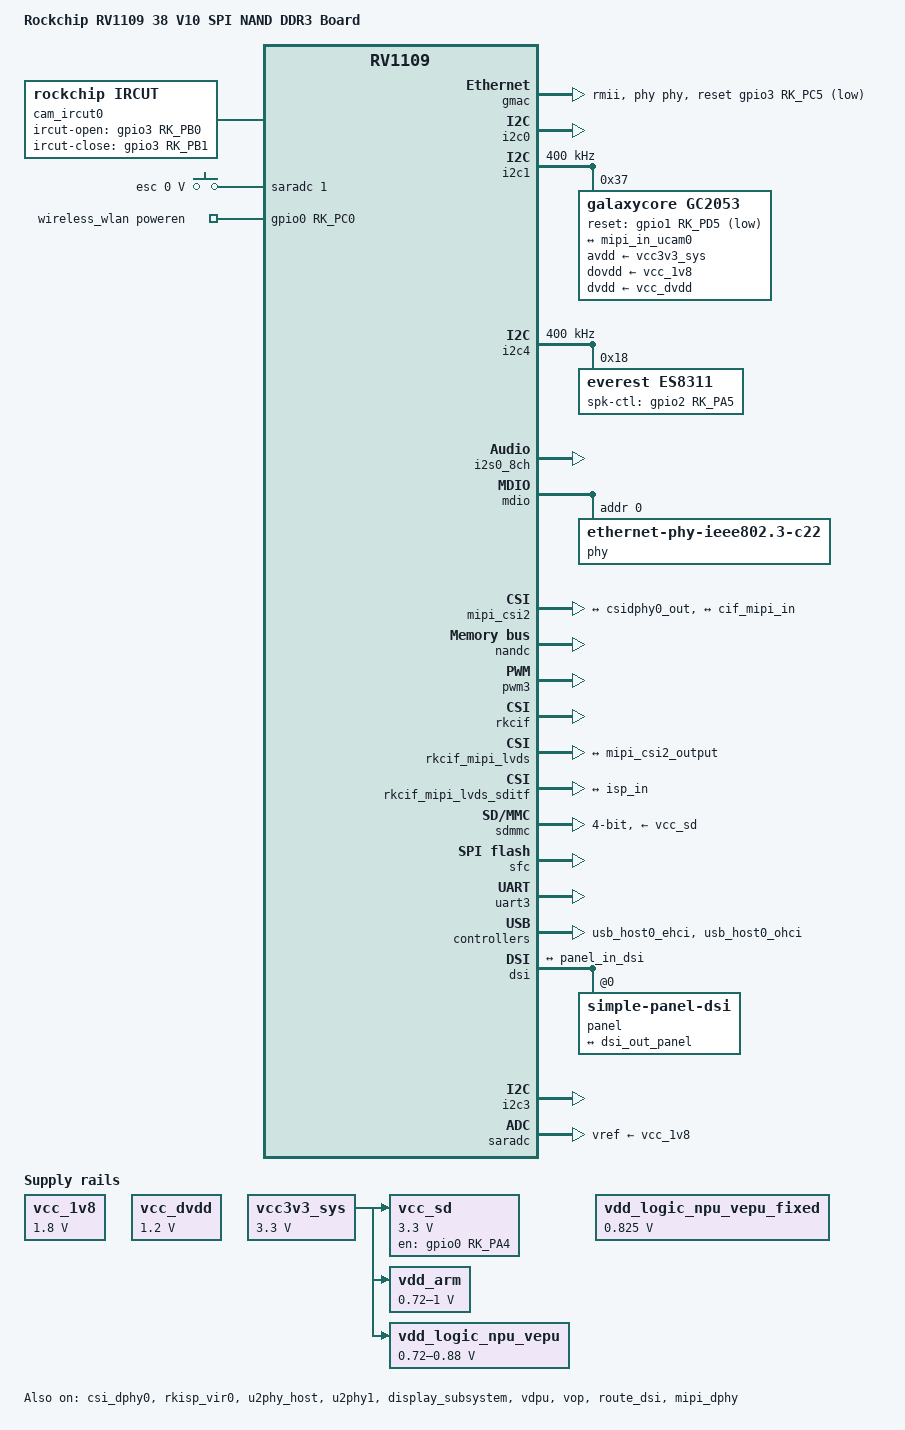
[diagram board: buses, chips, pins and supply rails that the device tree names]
// SPDX-License-Identifier: (GPL-2.0+ OR MIT)
/*
 * Copyright (c) 2020 Rockchip Electronics Co., Ltd.
 */

/dts-v1/;
#include "rv1126.dtsi"
//#include "rv1109.dtsi"
#include "rv1126-ipc.dtsi"
#include <dt-bindings/display/drm_mipi_dsi.h>
#include <dt-bindings/input/input.h>
/ {

	model = "Rockchip RV1109 38 V10 SPI NAND DDR3 Board";
	compatible = "rockchip,rv1109-38-v10-spi-nand", "rockchip,rv1109";

	chosen {   
		//bootargs = "earlycon=uart8250,mmio32,0xff570000 console=ttyFIQ0 ubi.mtd=3  ubi.block=0,rootfs root=/dev/ubiblock0_0 rootfstype=ubifs  snd_aloop.index=7";
		bootargs = "earlycon=uart8250,mmio32,0xff570000 console=ttyFIQ0 ubi.mtd=3 root=ubi0:rootfs rootfstype=ubifs snd_aloop.index=7";
	};

	/delete-node/ vdd-npu;
	/delete-node/ vdd-vepu;

	cam_ircut0: cam_ircut {
		compatible = "rockchip,ircut";
		status = "okay";
		ircut-open-gpios = <&gpio3 RK_PB0 GPIO_ACTIVE_HIGH>;
		ircut-close-gpios = <&gpio3 RK_PB1 GPIO_ACTIVE_HIGH>;
		//ircut-open-gpios = <&gpio3 RK_PB1 GPIO_ACTIVE_HIGH>;
		//ircut-close-gpios = <&gpio3 RK_PB0 GPIO_ACTIVE_HIGH>;
		pinctrl-names = "default";
		pinctrl-0 = <&ircut_pins>;
		rockchip,camera-module-index = <1>;
		rockchip,camera-module-facing = "front";
	};
	adc-keys {
                compatible = "adc-keys";
                io-channels = <&saradc 1>;
                io-channel-names = "buttons";
                poll-interval = <1000>;
                keyup-threshold-microvolt = <1800000>;
                led-key {
                        label = "esc";
                        linux,code = <1>;
                        press-threshold-microvolt = <0>;
                };
		
        };
	vcc_1v8: vcc-1v8 {
		compatible = "regulator-fixed";
		regulator-name = "vcc_1v8";
		regulator-always-on;
		regulator-boot-on;
		regulator-min-microvolt = <1800000>;
		regulator-max-microvolt = <1800000>;
	};

	vcc_dvdd: vcc-dvdd {
		compatible = "regulator-fixed";
		regulator-name = "vcc_dvdd";
		regulator-always-on;
		regulator-boot-on;
		regulator-min-microvolt = <1200000>;
		regulator-max-microvolt = <1200000>;
	};

	vcc3v3_sys: vcc33sys {
		compatible = "regulator-fixed";
		regulator-name = "vcc3v3_sys";
		regulator-always-on;
		regulator-boot-on;
		regulator-min-microvolt = <3300000>;
		regulator-max-microvolt = <3300000>;
	};

	vcc_sd: vcc-sd {
		compatible = "regulator-fixed";
		gpio = <&gpio0 RK_PA4 GPIO_ACTIVE_HIGH>;
		pinctrl-0 = <&sdmmc_pwr>;
		pinctrl-names = "default";
		regulator-name = "vcc_sd";
		regulator-min-microvolt = <3300000>;
		regulator-max-microvolt = <3300000>;
		startup-delay-us = <100000>;
		vin-supply = <&vcc3v3_sys>;
		enable-active-high;
	};

	vdd_arm: vdd-arm {
		compatible = "pwm-regulator";
		pwms = <&pwm0 0 5000 1>;
		regulator-name = "vdd_arm";
		regulator-min-microvolt = <720000>;
		regulator-max-microvolt = <1000000>;
		regulator-init-microvolt = <825000>;
		regulator-always-on;
		regulator-boot-on;
		regulator-settling-time-up-us = <250>;
		pwm-supply = <&vcc3v3_sys>;
		status = "okay";
	};

	/*
	 * pwm1 is reserved as voltage adjustment in hardware
	 * use fixed regulator to avoid voltage adjustment by software
	 */
	vdd_logic_npu_vepu: vdd-logic-npu-vepu {
		compatible = "pwm-regulator";
		pwms = <&pwm1 0 5000 1>;
		regulator-name = "vdd_logic_npu_vepu";
		regulator-min-microvolt = <720000>;
		regulator-max-microvolt = <880000>;
		regulator-init-microvolt = <825000>;
		regulator-always-on;
		regulator-boot-on;
		regulator-settling-time-up-us = <250>;
		pwm-supply = <&vcc3v3_sys>;
		status = "okay";
	};

	vdd_logic_npu_vepu_fixed: vdd-logic-npu-vepu-fixed {
		compatible = "regulator-fixed";
		regulator-name = "vdd_logic_npu_vepu-fixed";
		regulator-always-on;
		regulator-boot-on;
		regulator-min-microvolt = <825000>;
		regulator-max-microvolt = <825000>;
	};

	i2s0_sound: i2s0-sound {
		status = "okay";
		compatible = "simple-audio-card";
		simple-audio-card,format = "i2s";
		simple-audio-card,mclk-fs = <256>;
		simple-audio-card,name = "rockchip,i2s0-sound";
		simple-audio-card,cpu {
			sound-dai = <&i2s0_8ch>;
		};
		simple-audio-card,codec {
			sound-dai = <&es8311>;
		};
	};
/*	sdio_pwrseq: sdio-pwrseq {//add by zt
                compatible = "mmc-pwrseq-simple";
                pinctrl-names = "default";
                pinctrl-0 = <&wifi_enable_h>;
	        reset-gpios = <&gpio0 RK_PA4 GPIO_ACTIVE_LOW>;
        };*/
	
	
	wireless_wlan: wireless-wlan {
                compatible = "wlan-platdata";
                rockchip,grf = <&grf>;
		wifi_chip_type = "USB-WiFi";
                //WIFI,poweren_gpio = <&gpio0 RK_PC0 GPIO_ACTIVE_LOW>;
                WIFI,poweren_gpio = <&gpio0 RK_PC0 GPIO_ACTIVE_HIGH>;
                status = "okay";
        };
/*	wireless_wlan: wireless-wlan {
                compatible = "wlan-platdata";
                rockchip,grf = <&grf>;
		pinctrl-0 = <&wifi_wake_host>;
		wifi_chip_type = "ap6255";
                WIFI,poweren_gpio = <&gpio0 RK_PA4 GPIO_ACTIVE_HIGH>;
                WIFI,host_wake_irq = <&gpio0 RK_PC0 GPIO_ACTIVE_HIGH>;
                
		status = "okay";
        };*/
};

&csi_dphy0 {
	status = "okay";

	ports {
		#address-cells = <1>;
		#size-cells = <0>;
		port@0 {
			reg = <0>;
			#address-cells = <1>;
			#size-cells = <0>;

			mipi_in_ucam0: endpoint@1 {
				reg = <1>;
				remote-endpoint = <&ucam_out0>;
//				data-lanes = <1 2 3 4>;
				data-lanes = <1 2>;    // only for GC2053
			};
		};
		port@1 {
			reg = <1>;
			#address-cells = <1>;
			#size-cells = <0>;

			csidphy0_out: endpoint@0 {
				reg = <0>;
				remote-endpoint = <&mipi_csi2_input>;
			};
		};
	};
};


&gmac {
	phy-mode = "rmii";
	clock_in_out = "output";

	snps,reset-gpio = <&gpio3 RK_PC5 GPIO_ACTIVE_LOW>;
	snps,reset-active-low;
	snps,reset-delays-us = <0 50000 50000>;

	assigned-clocks = <&cru CLK_GMAC_SRC>, <&cru CLK_GMAC_TX_RX>;
	assigned-clock-parents = <&cru CLK_GMAC_SRC_M0>, <&cru RMII_MODE_CLK>;
	assigned-clock-rates = <50000000>;

	pinctrl-names = "default";
	pinctrl-0 = <&rmiim0_miim &rgmiim0_rxer &rmiim0_bus2 &rgmiim0_mclkinout_level0>;

	phy-handle = <&phy>;
	status = "okay";
};

&i2c0 {
        status = "okay";
};


&i2c1 {
		status = "okay";
		clock-frequency = <400000>;

		gc2053: gc2053@37 {

		compatible = "galaxycore,gc2053";
		reg = <0x37>;

		clocks = <&cru CLK_MIPICSI_OUT>;
		clock-names = "xvclk";

		power-domains = <&power RV1126_PD_VI>;
		pinctrl-names = "rockchip,camera_default";
		pinctrl-0 = <&mipicsi_clk0>;
		
//		pwdn-gpios = <&gpio1 RK_PD4 GPIO_ACTIVE_HIGH>;
		reset-gpios = <&gpio1 RK_PD5 GPIO_ACTIVE_LOW>;
		ir-cut = <&cam_ircut0>;
		avdd-supply = <&vcc3v3_sys>;
		dovdd-supply = <&vcc_1v8>;
		dvdd-supply = <&vcc_dvdd>;

	//GC2053 电压配置，现在硬件已经固定不是通过PMU来配置的，
        //因此此处不需要配置电源输出，实际需要的电压就是2V8  1.8V  1.2V 
//		avdd-supply = <&vcc2v8_avdd>;
//		dovdd-supply = <&vcc_dovdd>;
//		dvdd-supply = <&vcc1v2_dvdd>;
//
		rockchip,camera-module-index = <1>;
		rockchip,camera-module-facing = "front";
		rockchip,camera-module-name = "CMK-OT1726-PG1";
		rockchip,camera-module-lens-name = "29IR-2MP-F25";
		port {
			ucam_out0: endpoint {
				remote-endpoint = <&mipi_in_ucam0>;
				data-lanes = <1 2>;
			};
		};
	};
};


&i2c4 {
	status = "okay";
	clock-frequency = <400000>;
	pinctrl-0 = <&i2c4m1_xfer>;

	es8311: es8311@18 {
		compatible = "everest,es8311";
		reg = <0x18>;
		clocks = <&cru MCLK_I2S0_TX_OUT2IO>;
		clock-names = "mclk";
		adc-volume = <0xbf>;  /* 0dB */
		dac-volume = <0xbf>;  /* 0dB */
		aec-mode = "dac left, adc right";
		pinctrl-names = "default";
		pinctrl-0 = <&i2s0m0_mclk &spk_ctl>;
		assigned-clocks = <&cru MCLK_I2S0_TX_OUT2IO>;
		assigned-clock-parents = <&cru MCLK_I2S0_TX>;
		spk-ctl-gpios = <&gpio2 RK_PA5 GPIO_ACTIVE_HIGH>;
		#sound-dai-cells = <0>;
	};
};

&i2s0_8ch {
	status = "okay";
	rockchip,clk-trcm = <1>;
	#sound-dai-cells = <0>;
	pinctrl-0 = <&i2s0m0_sclk_tx
		     &i2s0m0_lrck_tx
		     &i2s0m0_sdi0
		     &i2s0m0_sdo0>;
};

/*
&i2c1 {
	status = "okay";
	clock-frequency = <400000>;

	imx335: imx335@1a {
		compatible = "sony,imx335";
		reg = <0x1a>;
		clocks = <&cru CLK_MIPICSI_OUT>;
		clock-names = "xvclk";
		power-domains = <&power RV1126_PD_VI>;
		pinctrl-names = "rockchip,camera_default";
		pinctrl-0 = <&mipicsi_clk0>;
		avdd-supply = <&vcc3v3_sys>;
		dovdd-supply = <&vcc_1v8>;
		dvdd-supply = <&vcc_dvdd>;
		reset-gpios = <&gpio1 RK_PD5 GPIO_ACTIVE_LOW>;
		rockchip,camera-module-index = <1>;
		rockchip,camera-module-facing = "front";
		rockchip,camera-module-name = "MTV4-IR-E-P";
		rockchip,camera-module-lens-name = "40IRC-4MP-F16";
		ir-cut = <&cam_ircut0>;
		port {
			ucam_out0: endpoint {
				remote-endpoint = <&mipi_in_ucam0>;
				data-lanes = <1 2 3 4>;
			};
		};
	};
};
*/

/*
&i2c1 {
	status = "okay";
	clock-frequency = <400000>;

	imx415: imx415@1a {
		   compatible = "sony,imx415";
		   reg = <0x1a>;
		   clocks = <&cru CLK_MIPICSI_OUT>;
		   clock-names = "xvclk";
		   power-domains = <&power RV1126_PD_VI>;
		   pinctrl-names = "rockchip,camera_default";
		   pinctrl-0 = <&mipicsi_clk0>;
		   avdd-supply = <&vcc3v3_sys>;
		   dovdd-supply = <&vcc_1v8>;
		   dvdd-supply = <&vcc_dvdd>;
		   reset-gpios = <&gpio1 RK_PD5 GPIO_ACTIVE_LOW>;
		   rockchip,camera-module-index = <1>;
		   rockchip,camera-module-facing = "front";
		   rockchip,camera-module-name = "YT10092";
		   rockchip,camera-module-lens-name = "IR0147-28IRC-8M-F20";
		   ir-cut = <&cam_ircut0>;
	//	   flash-leds = <&flash_ir>;
		   port {
				   ucam_out0: endpoint {
						   remote-endpoint = <&mipi_in_ucam0>;
						   data-lanes = <1 2 3 4>;
				   };
		   };
	};

};
*/

&mdio {
	phy: phy@0 {
		compatible = "ethernet-phy-ieee802.3-c22";
		reg = <0x0>;
	};
};

&mipi_csi2 {
	status = "okay";

	ports {
		#address-cells = <1>;
		#size-cells = <0>;

		port@0 {
			reg = <0>;
			#address-cells = <1>;
			#size-cells = <0>;

			mipi_csi2_input: endpoint@1 {
				reg = <1>;
				remote-endpoint = <&csidphy0_out>;
//				data-lanes = <1 2 3 4>;   
				data-lanes = <1 2>;    // only for GC2053
			};
		};

		port@1 {
			reg = <1>;
			#address-cells = <1>;
			#size-cells = <0>;

			mipi_csi2_output: endpoint@0 {
				reg = <0>;
				remote-endpoint = <&cif_mipi_in>;
//				data-lanes = <1 2 3 4>;
				data-lanes = <1 2>;    // only for GC2053
			};
		};
	};
};

&npu {
	npu-supply = <&vdd_logic_npu_vepu_fixed>;
};

&nandc {
    status = "okay";
};


&pinctrl {
	ircut {
		/omit-if-no-ref/
		ircut_pins: ircut-pins {
			rockchip,pins = <3 RK_PB0 RK_FUNC_GPIO &pcfg_pull_up>,
					<3 RK_PB1 RK_FUNC_GPIO &pcfg_pull_up>;
		};
	};

	es8311 {
		spk_ctl: spk-ctl {
			rockchip,pins = <2 RK_PA5 0 &pcfg_pull_none>;
		};
	};

	sdmmc-pwr {
		/omit-if-no-ref/
		sdmmc_pwr: sdmmc-pwr {
			rockchip,pins = <0 RK_PA4 RK_FUNC_GPIO &pcfg_pull_none>;
		};
	};
		/*sdio-pwrseq {
					/omit-if-no-ref/
					wifi_enable_h: wifi-enable-h {
					rockchip,pins = <0 RK_PA4 RK_FUNC_GPIO &pcfg_pull_none>;
					};
				};

		wireless-wlan {
					/omit-if-no-ref/
					wifi_wake_host: wifi-wake-host {
					rockchip,pins = <0 RK_PC0 0 &pcfg_pull_up>;
					};
				};*/
};

&pmu_io_domains {
	status = "okay";

	pmuio0-supply = <&vcc3v3_sys>;
	pmuio1-supply = <&vcc3v3_sys>;
	vccio2-supply = <&vcc3v3_sys>;
	vccio4-supply = <&vcc_1v8>;
	vccio5-supply = <&vcc3v3_sys>;
	vccio6-supply = <&vcc3v3_sys>;
	vccio7-supply = <&vcc3v3_sys>;
};





&pwm3 {
	status = "okay";
	pinctrl-names = "active";
	pinctrl-0 = <&pwm3m0_pins_pull_down>;
};

&rkcif {
	status = "okay";
};

&rkcif_mmu {
	status = "disabled";
};

&rkcif_mipi_lvds {
	status = "okay";

	port {
		/* MIPI CSI-2 endpoint */
		cif_mipi_in: endpoint {
			remote-endpoint = <&mipi_csi2_output>;
//			data-lanes = <1 2 3 4>;
			data-lanes = <1 2>;    // only for GC2053
		};
	};
};

&rkcif_mipi_lvds_sditf {
	status = "okay";

	port {
		/* MIPI CSI-2 endpoint */
		mipi_lvds_sditf: endpoint {
			remote-endpoint = <&isp_in>;
//			data-lanes = <1 2 3 4>;
			data-lanes = <1 2>;    // only for GC2053
		};
	};
};

&rkisp_vir0 {
	status = "okay";

	ports {
		port@0 {
			reg = <0>;
			#address-cells = <1>;
			#size-cells = <0>;

			isp_in: endpoint@0 {
				reg = <0>;
				remote-endpoint = <&mipi_lvds_sditf>;
			};
		};
	};
};



&rkvenc {
	venc-supply = <&vdd_logic_npu_vepu_fixed>;
};

&rockchip_suspend {
	status = "okay";
	rockchip,sleep-debug-en = <1>;
	rockchip,sleep-mode-config = <
		(0
		| RKPM_SLP_ARMOFF
		| RKPM_SLP_PMU_PMUALIVE_32K
		| RKPM_SLP_PMU_DIS_OSC
		)
	>;
};

&sdmmc0_bus4 {
	rockchip,pins =
		/* sdmmc0_d0 */
		<1 RK_PA4 1 &pcfg_pull_up_drv_level_0>,
		/* sdmmc0_d1 */
		<1 RK_PA5 1 &pcfg_pull_up_drv_level_0>,
		/* sdmmc0_d2 */
		<1 RK_PA6 1 &pcfg_pull_up_drv_level_0>,
		/* sdmmc0_d3 */
		<1 RK_PA7 1 &pcfg_pull_up_drv_level_0>;
};

&sdmmc0_clk {
	rockchip,pins =
		/* sdmmc0_clk */
		<1 RK_PB0 1 &pcfg_pull_up_drv_level_3>;
};

&sdmmc0_cmd {
	rockchip,pins =
		/* sdmmc0_cmd */
		<1 RK_PB1 1 &pcfg_pull_up_drv_level_0>;
};

&sdmmc {
	bus-width = <4>;
	cap-mmc-highspeed;
	cap-sd-highspeed;
	card-detect-delay = <200>;
	rockchip,default-sample-phase = <90>;
	supports-sd;
	status = "okay";
	vmmc-supply = <&vcc_sd>;
};

/*
//&sdio {
&sdmmc {
        max-frequency = <20000000>;
        bus-width = <4>;
        cap-sd-highspeed;
        cap-sdio-irq;
        keep-power-in-suspend;
       //non-removable;
        rockchip,default-sample-phase = <135>;
        //sd-uhs-sdr104;
        supports-sdio;
       	//mmc-pwrseq = <&sdio_pwrseq>;
        //pinctrl-names = "default";
         //pinctrl-0 = <&sdmmc1_clk &sdmmc1_cmd &sdmmc1_bus4>;
        // pinctrl-0 = <&sdmmc0_clk &sdmmc0_cmd &sdmmc0_bus4>;
	status = "okay";
};
*/


&sfc {
	status = "okay";
};
/*
&uart0 {
        status = "okay";
};

&uart1 {
        status = "okay";
};

&uart2 {
        status = "okay";
};
*/

&uart3 {
        wakeup-source;
        pinctrl-names = "default";
        pinctrl-0 = <&uart3m2_xfer &uart3m2_ctsn &uart3m2_rtsn>;
        status = "okay";
};

&u2phy_host {
        status = "okay";
};

&u2phy1 {
        status = "okay";
};

&usb_host0_ehci {
        status = "okay";
};

&usb_host0_ohci {
        status = "okay";
};


&display_subsystem {
	status = "okay";
};


&dsi {
	status = "okay";

	rockchip,lane-rate = <480>;
	panel@0 {
		compatible = "simple-panel-dsi";
		reg = <0>;
		//backlight = <&backlight>;
		//power-supply = <&vcc18_lcd_n>;
		prepare-delay-ms = <5>;
		reset-delay-ms = <1>;
		init-delay-ms = <80>;
		disable-delay-ms = <10>;
		unprepare-delay-ms = <5>;

		width-mm = <68>;
		height-mm = <121>;

		dsi,flags = <(MIPI_DSI_MODE_VIDEO | MIPI_DSI_MODE_VIDEO_BURST | MIPI_DSI_MODE_LPM | MIPI_DSI_MODE_EOT_PACKET)>;
		dsi,format = <MIPI_DSI_FMT_RGB888>;
		dsi,lanes = <4>;


		display-timings {
			native-mode = <&timing0>;

			timing0: timing0 {
				clock-frequency = <33359000>;
				hactive = <800>;
				vactive = <480>;
				hfront-porch = <210>;
				hsync-len = <1>;
				hback-porch = <46>;
				vfront-porch = <22>;
				vsync-len = <1>;
				vback-porch = <23>;
				hsync-active = <0>;
				vsync-active = <0>;
				de-active = <0>;
				pixelclk-active = <0>;
			};
		};

		ports {
			#address-cells = <1>;
			#size-cells = <0>;

			port@0 {
				reg = <0>;
				panel_in_dsi: endpoint {
					remote-endpoint = <&dsi_out_panel>;
				};
			};
		};
	};

	ports {
		#address-cells = <1>;
		#size-cells = <0>;

		port@1 {
			reg = <1>;
			dsi_out_panel: endpoint {
				remote-endpoint = <&panel_in_dsi>;
			};
		};
	};
};

&i2c3 {
	pinctrl-names = "default";
        pinctrl-0 = <&i2c3m1_xfer>;
        status = "okay";
	
};

&vdpu {
	status = "okay";
};

&vop {
	status = "okay";
};

&vop_mmu {
	status = "okay";
};

&route_dsi {
	status = "okay";
};

&mipi_dphy {
	status = "okay";
};


&saradc {
        status = "okay";
        vref-supply = <&vcc_1v8>;
};

